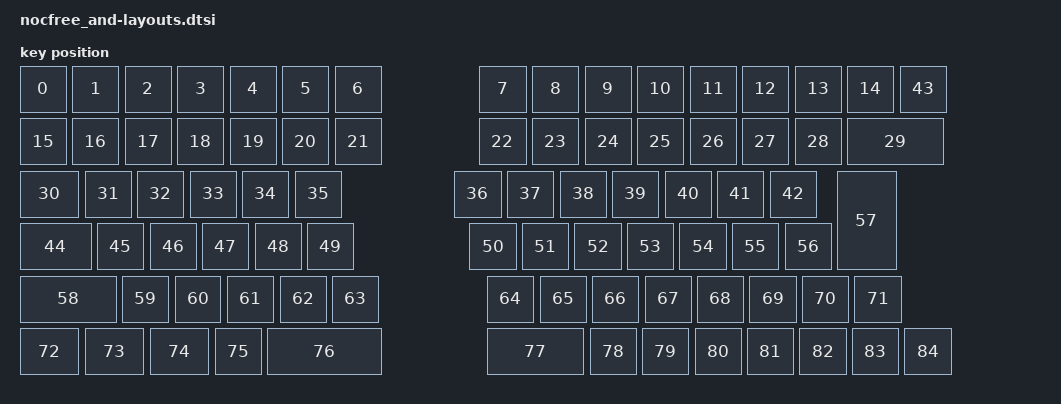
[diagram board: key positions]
/*
 * Copyright (c) 2026 The NocFree ZMK Contributors
 *
 * SPDX-License-Identifier: MIT
 */
#include <physical_layouts.dtsi>

/ {
    /*
     * JIS physical key geometry for ZMK Studio.
     * Values are in centi-keyunits: 100 = 1U.
     * Entries must follow the same visual order as the keymap bindings.
     */
    ansi_layout: nocfree_and_jis_layout {
        compatible = "zmk,physical-layout";
        display-name = "JIS";
        transform = <&matrix_transform0>;
        keys
            /* Function row */
            = <&key_physical_attrs 100 100    0   0 0 0 0>
            , <&key_physical_attrs 100 100  105   0 0 0 0>
            , <&key_physical_attrs 100 100  210   0 0 0 0>
            , <&key_physical_attrs 100 100  315   0 0 0 0>
            , <&key_physical_attrs 100 100  420   0 0 0 0>
            , <&key_physical_attrs 100 100  525   0 0 0 0>
            , <&key_physical_attrs 100 100  630   0 0 0 0>
            , <&key_physical_attrs 100 100  920   0 0 0 0>
            , <&key_physical_attrs 100 100 1025   0 0 0 0>
            , <&key_physical_attrs 100 100 1130   0 0 0 0>
            , <&key_physical_attrs 100 100 1235   0 0 0 0>
            , <&key_physical_attrs 100 100 1340   0 0 0 0>
            , <&key_physical_attrs 100 100 1445   0 0 0 0>
            , <&key_physical_attrs 100 100 1550   0 0 0 0>
            , <&key_physical_attrs 100 100 1655   0 0 0 0>
            /* Number row */
            , <&key_physical_attrs 100 100    0 105 0 0 0>
            , <&key_physical_attrs 100 100  105 105 0 0 0>
            , <&key_physical_attrs 100 100  210 105 0 0 0>
            , <&key_physical_attrs 100 100  315 105 0 0 0>
            , <&key_physical_attrs 100 100  420 105 0 0 0>
            , <&key_physical_attrs 100 100  525 105 0 0 0>
            , <&key_physical_attrs 100 100  630 105 0 0 0>
            , <&key_physical_attrs 100 100  920 105 0 0 0>
            , <&key_physical_attrs 100 100 1025 105 0 0 0>
            , <&key_physical_attrs 100 100 1130 105 0 0 0>
            , <&key_physical_attrs 100 100 1235 105 0 0 0>
            , <&key_physical_attrs 100 100 1340 105 0 0 0>
            , <&key_physical_attrs 100 100 1445 105 0 0 0>
            , <&key_physical_attrs 100 100 1550 105 0 0 0>
            , <&key_physical_attrs 200 100 1655 105 0 0 0>
            /* Tab row */
            , <&key_physical_attrs 125 100    0 210 0 0 0>
            , <&key_physical_attrs 100 100  130 210 0 0 0>
            , <&key_physical_attrs 100 100  235 210 0 0 0>
            , <&key_physical_attrs 100 100  340 210 0 0 0>
            , <&key_physical_attrs 100 100  445 210 0 0 0>
            , <&key_physical_attrs 100 100  550 210 0 0 0>
            , <&key_physical_attrs 100 100  870 210 0 0 0>
            , <&key_physical_attrs 100 100  975 210 0 0 0>
            , <&key_physical_attrs 100 100 1080 210 0 0 0>
            , <&key_physical_attrs 100 100 1185 210 0 0 0>
            , <&key_physical_attrs 100 100 1290 210 0 0 0>
            , <&key_physical_attrs 100 100 1395 210 0 0 0>
            , <&key_physical_attrs 100 100 1500 210 0 0 0>
            , <&key_physical_attrs 100 100 1760   0 0 0 0>
            /* Home row */
            , <&key_physical_attrs 150 100    0 315 0 0 0>
            , <&key_physical_attrs 100 100  155 315 0 0 0>
            , <&key_physical_attrs 100 100  260 315 0 0 0>
            , <&key_physical_attrs 100 100  365 315 0 0 0>
            , <&key_physical_attrs 100 100  470 315 0 0 0>
            , <&key_physical_attrs 100 100  575 315 0 0 0>
            , <&key_physical_attrs 100 100  900 315 0 0 0>
            , <&key_physical_attrs 100 100 1005 315 0 0 0>
            , <&key_physical_attrs 100 100 1110 315 0 0 0>
            , <&key_physical_attrs 100 100 1215 315 0 0 0>
            , <&key_physical_attrs 100 100 1320 315 0 0 0>
            , <&key_physical_attrs 100 100 1425 315 0 0 0>
            , <&key_physical_attrs 100 100 1530 315 0 0 0>
            , <&key_physical_attrs 125 205 1635 210 0 0 0>
            /* Shift row */
            , <&key_physical_attrs 200 100    0 420 0 0 0>
            , <&key_physical_attrs 100 100  205 420 0 0 0>
            , <&key_physical_attrs 100 100  310 420 0 0 0>
            , <&key_physical_attrs 100 100  415 420 0 0 0>
            , <&key_physical_attrs 100 100  520 420 0 0 0>
            , <&key_physical_attrs 100 100  625 420 0 0 0>
            , <&key_physical_attrs 100 100  935 420 0 0 0>
            , <&key_physical_attrs 100 100 1040 420 0 0 0>
            , <&key_physical_attrs 100 100 1145 420 0 0 0>
            , <&key_physical_attrs 100 100 1250 420 0 0 0>
            , <&key_physical_attrs 100 100 1355 420 0 0 0>
            , <&key_physical_attrs 100 100 1460 420 0 0 0>
            , <&key_physical_attrs 100 100 1565 420 0 0 0>
            , <&key_physical_attrs 100 100 1670 420 0 0 0>
            /* Bottom row */
            , <&key_physical_attrs 125 100    0 525 0 0 0>
            , <&key_physical_attrs 125 100  130 525 0 0 0>
            , <&key_physical_attrs 125 100  260 525 0 0 0>
            , <&key_physical_attrs 100 100  390 525 0 0 0>
            , <&key_physical_attrs 235 100  495 525 0 0 0>
            , <&key_physical_attrs 200 100  935 525 0 0 0>
            , <&key_physical_attrs 100 100 1140 525 0 0 0>
            , <&key_physical_attrs 100 100 1245 525 0 0 0>
            , <&key_physical_attrs 100 100 1350 525 0 0 0>
            , <&key_physical_attrs 100 100 1455 525 0 0 0>
            , <&key_physical_attrs 100 100 1560 525 0 0 0>
            , <&key_physical_attrs 100 100 1665 525 0 0 0>
            , <&key_physical_attrs 100 100 1770 525 0 0 0>
            ;
    };
};
